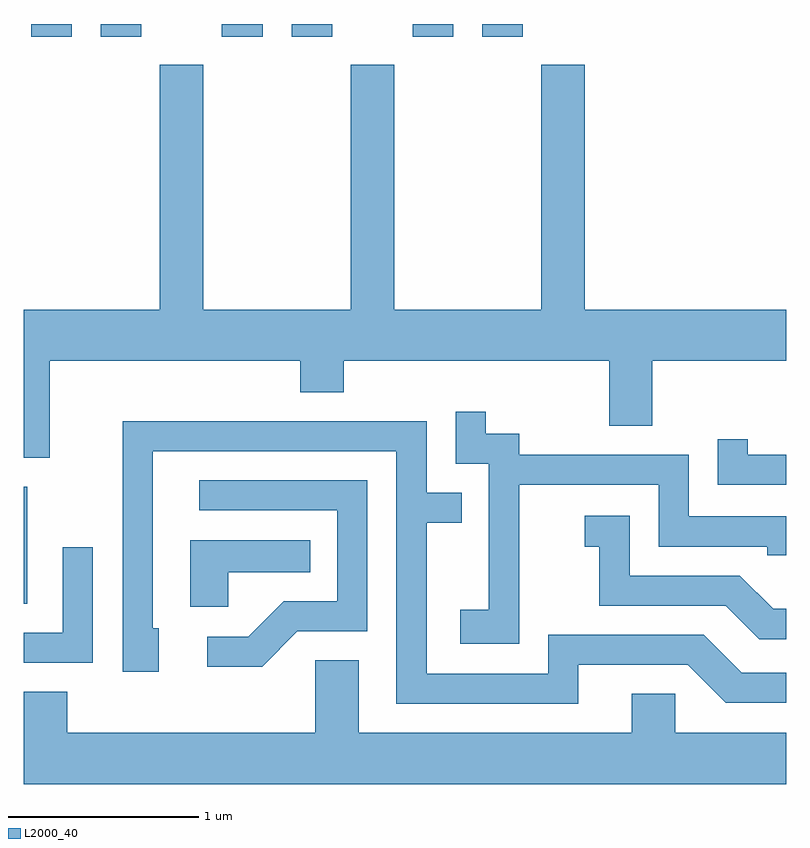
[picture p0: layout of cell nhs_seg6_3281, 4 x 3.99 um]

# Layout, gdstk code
import gdstk
lib = gdstk.Library(unit=1e-6, precision=1e-09)
def R(c, l, rs):  # rectangles x0, y0, x1, y1
    for r in rs: c.add(gdstk.rectangle(r[:2], r[2:], *l))
def P(c, l, *ps):  # polygons
    for p in ps: c.add(gdstk.Polygon(p, *l))
L2000_40 = (2000, 40)

nhs_seg6_3281 = lib.new_cell('nhs_seg6_3281')
R(nhs_seg6_3281, L2000_40, [(283.611,1633.121,283.629,1633.734), (283.651,1636.096,283.864,1636.162), (284.016,1636.096,284.229,1636.162), (284.651,1636.096,284.864,1636.162), (285.016,1636.096,285.229,1636.162), (285.651,1636.096,285.864,1636.162), (286.016,1636.096,286.229,1636.162)])
P(nhs_seg6_3281, L2000_40, [(285.061,1634.231),(285.289,1634.231),(285.289,1634.396),(286.681,1634.396),(286.681,1634.056),(286.909,1634.056),(286.909,1634.396),(287.611,1634.396),(287.611,1634.664),(286.554,1634.664),(286.554,1635.949),(286.326,1635.949),(286.326,1634.664),(285.554,1634.664),(285.554,1635.949),(285.326,1635.949),(285.326,1634.664),(284.554,1634.664),(284.554,1635.949),(284.326,1635.949),(284.326,1634.664),(283.611,1634.664),(283.611,1633.886),(283.749,1633.886),(283.749,1634.396),(285.061,1634.396)],
  [(286.209,1633.746),(286.941,1633.746),(286.941,1633.421),(287.511,1633.421),(287.511,1633.376),(287.611,1633.376),(287.611,1633.579),(287.099,1633.579),(287.099,1633.904),(286.209,1633.904),(286.209,1634.014),(286.034,1634.014),(286.034,1634.128),(285.876,1634.128),(285.876,1633.856),(286.051,1633.856),(286.051,1633.089),(285.901,1633.089),(285.901,1632.911),(286.209,1632.911)],
  [(286.519,1632.801),(287.094,1632.801),(287.294,1632.601),(287.611,1632.601),(287.611,1632.759),(287.377,1632.759),(287.177,1632.959),(286.361,1632.959),(286.361,1632.754),(285.724,1632.754),(285.724,1633.546),(285.908,1633.546),(285.908,1633.704),(285.724,1633.704),(285.724,1634.079),(284.131,1634.079),(284.131,1632.766),(284.319,1632.766),(284.319,1632.994),(284.289,1632.994),(284.289,1633.921),(285.566,1633.921),(285.566,1632.596),(286.519,1632.596)],
  [(287.611,1633.904),(287.409,1633.904),(287.409,1633.983),(287.251,1633.983),(287.251,1633.746),(287.611,1633.746)],
  [(285.047,1632.976),(285.414,1632.976),(285.414,1633.769),(284.533,1633.769),(284.533,1633.611),(285.256,1633.611),(285.256,1633.134),(284.974,1633.134),(284.789,1632.949),(284.573,1632.949),(284.573,1632.791),(284.862,1632.791)],
  [(287.611,1633.094),(287.542,1633.094),(287.367,1633.269),(286.789,1633.269),(286.789,1633.584),(286.553,1633.584),(286.553,1633.421),(286.631,1633.421),(286.631,1633.111),(287.294,1633.111),(287.469,1632.936),(287.611,1632.936)],
  [(284.684,1633.286),(285.113,1633.286),(285.113,1633.454),(284.486,1633.454),(284.486,1633.106),(284.684,1633.106)],
  [(283.974,1633.418),(283.816,1633.418),(283.816,1632.969),(283.611,1632.969),(283.611,1632.811),(283.974,1632.811)],
  [(287.611,1632.444),(287.029,1632.444),(287.029,1632.649),(286.801,1632.649),(286.801,1632.444),(285.369,1632.444),(285.369,1632.824),(285.141,1632.824),(285.141,1632.444),(283.839,1632.444),(283.839,1632.659),(283.611,1632.659),(283.611,1632.176),(287.611,1632.176)])

lib.write_gds('nhs_seg6_3281.gds')
